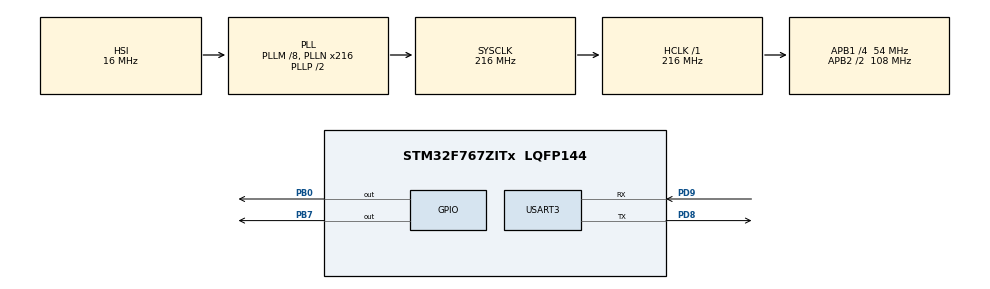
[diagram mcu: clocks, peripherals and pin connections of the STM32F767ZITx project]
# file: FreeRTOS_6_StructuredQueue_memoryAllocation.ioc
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FREERTOS.INCLUDE_vTaskDelayUntil=1
FREERTOS.Tasks01=normalTask,0,128,start_normalTask,Default,NULL,Dynamic,NULL,NULL
FREERTOS.configUSE_COUNTING_SEMAPHORES=0
FREERTOS.configUSE_NEWLIB_REENTRANT=1
Mcu.Family=STM32F7
Mcu.Name=STM32F767ZITx
Mcu.Package=LQFP144
NVIC.PriorityGroup=NVIC_PRIORITYGROUP_4
NVIC.TIM6_DAC_IRQn=true\:15\:0\:false\:false\:true\:false\:false\:true\:true
NVIC.TimeBase=TIM6_DAC_IRQn
NVIC.TimeBaseIP=TIM6
NVIC.USART3_IRQn=true\:5\:0\:false\:false\:true\:true\:true\:true\:true
PA13.Mode=Serial_Wire
PA13.Signal=SYS_JTMS-SWDIO
PA14.Mode=Serial_Wire
PA14.Signal=SYS_JTCK-SWCLK
PB0.Signal=GPIO_Output
PB7.Signal=GPIO_Output
PD8.Mode=Asynchronous
PD8.Signal=USART3_TX
PD9.Mode=Asynchronous
PD9.Signal=USART3_RX
ProjectManager.HeapSize=0x200
ProjectManager.StackSize=0x400
ProjectManager.TargetToolchain=CMake
RCC.AHBFreq_Value=216000000
RCC.APB1CLKDivider=RCC_HCLK_DIV4
RCC.APB1Freq_Value=54000000
RCC.APB1TimFreq_Value=108000000
RCC.APB2CLKDivider=RCC_HCLK_DIV2
RCC.APB2Freq_Value=108000000
RCC.APB2TimFreq_Value=216000000
RCC.CortexFreq_Value=216000000
RCC.HCLKFreq_Value=216000000
RCC.HSE_VALUE=8000000
RCC.HSI_VALUE=16000000
RCC.LSE_VALUE=32768
RCC.PLLM=8
RCC.PLLN=216
RCC.SYSCLKFreq_VALUE=216000000
RCC.SYSCLKSource=RCC_SYSCLKSOURCE_PLLCLK
RCC.USBFreq_Value=216000000
RCC.VCOOutputFreq_Value=432000000
USART3.VirtualMode-Asynchronous=VM_ASYNC
VP_FREERTOS_VS_CMSIS_V1.Mode=CMSIS_V1
VP_SYS_VS_tim6.Mode=TIM6
board=custom

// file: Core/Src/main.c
/* USER CODE BEGIN Header */
/**
  ******************************************************************************
  * @file           : main.c
  * @brief          : Main program body
  ******************************************************************************
  * @author			: Jabed-Akhtar (GitHub)
  * @date			: 11.10.2022
  ******************************************************************************
  * Description:
  * 	- a source within this script: https://youtube.com/playlist?list=PLfIJKC1ud8gj1t2y36sabPT4YcKzmN_5D
  * 	- Related doc/file can be found at location '<project-dir>/zz_docs/...'
  * 	- Benefit of Structured-Queue: Datas of different type can be send and received to/from Queue
  *
  * @attention
  * Very imp note:
  * 	- comment out #include "cmsis_os.h" , as it is not used
  * 	- comment or remote by-default created task related stuffs
  *
  ******************************************************************************
  */
/* USER CODE END Header */
#include "main.h"
//#include "cmsis_os.h"

/* USER CODE BEGIN Includes */

#include "FreeRTOS.h"
#include "task.h"
#include "timers.h"
#include "queue.h"
#include "semphr.h"
#include "event_groups.h"

#include <stdio.h>
#include "stdlib.h"
#include <string.h>

/* USER CODE END Includes */

UART_HandleTypeDef huart3;

//osThreadId normalTaskHandle;
/* USER CODE BEGIN PV */

// defining Task Handlers **********
xTaskHandle Sender1_Task_Handler;
xTaskHandle Sender2_Task_Handler;
xTaskHandle Receiver_Task_Handler;

// defining Queue Handlers **********
xQueueHandle st_queue_handler;

// Structure Handler **********
typedef struct{
	char *str;
	int cou;
	uint16_t large_val;
}my_struct;

int indx1 = 0;
int indx2 = 0;

/* USER CODE END PV */

void SystemClock_Config(void);
static void MX_GPIO_Init(void);
static void MX_USART3_UART_Init(void);
//void start_normalTask(void const * argument);

/* USER CODE BEGIN PFP */

void Sender1_Task(void *argument); // Sender-1 task Handler function
void Sender2_Task(void *argument); // Sender-2 task Handler function
void Receiver_Task(void *argument); // Receiver task Handler function

/* USER CODE END PFP */

int main(void)
{

  /* MCU Configuration--------------------------------------------------------*/

  /* Reset of all peripherals, Initializes the Flash interface and the Systick. */
  HAL_Init();

  /* Configure the system clock */
  SystemClock_Config();

  /* Initialize all configured peripherals */
  MX_GPIO_Init();
  MX_USART3_UART_Init();
  /* USER CODE BEGIN 2 */

  // sending data through USART at the beginning of Programm
  char stri[] = "\n---------- Programm started!!! ----------\n\n\r";
  HAL_UART_Transmit(&huart3, (uint8_t*)stri, strlen(stri), HAL_MAX_DELAY); //HAL_MAX_DELAY -> 0xFFFFFFFFU

  // creating Queue **********
  st_queue_handler = xQueueCreate(2, sizeof(my_struct));
  if (st_queue_handler == 0) // if Queue not created due to any error
  {
	  char *str1 = "Unable to create Structured-Queue.\n\r";
	  HAL_UART_Transmit(&huart3, (uint8_t*)str1, strlen(str1), HAL_MAX_DELAY);
  }
  else
  {
	  char *str1 = "Structured-Queue successfully created.\n\r";
	  HAL_UART_Transmit(&huart3, (uint8_t*)str1, strlen(str1), HAL_MAX_DELAY);
  }

  // create Tasks **********
  xTaskCreate(Sender1_Task, "Sender1", 128, NULL, 2, &Sender1_Task_Handler);
  xTaskCreate(Sender2_Task, "Sender2", 128, NULL, 2, &Sender2_Task_Handler);
  xTaskCreate(Receiver_Task, "Receiver", 128, NULL, 1, &Receiver_Task_Handler); // Task for receiving data from Queue

  // start the Schedular
  vTaskStartScheduler();

  /* USER CODE END 2 */

  /* Create the thread(s) */
  /* definition and creation of normalTask */
//  osThreadDef(normalTask, start_normalTask, osPriorityNormal, 0, 128);
//  normalTaskHandle = osThreadCreate(osThread(normalTask), NULL);

  /* Start scheduler */
//  osKernelStart();

  /* We should never get here as control is now taken by the scheduler */

  /* Infinite loop */
  while (1)
  {

  }
}

void SystemClock_Config(void)
{
  RCC_OscInitTypeDef RCC_OscInitStruct = {0};
  RCC_ClkInitTypeDef RCC_ClkInitStruct = {0};

  /** Configure the main internal regulator output voltage
  */
  __HAL_RCC_PWR_CLK_ENABLE();
  __HAL_PWR_VOLTAGESCALING_CONFIG(PWR_REGULATOR_VOLTAGE_SCALE1);

  /** Initializes the RCC Oscillators according to the specified parameters
  * in the RCC_OscInitTypeDef structure.
  */
  RCC_OscInitStruct.OscillatorType = RCC_OSCILLATORTYPE_HSI;
  RCC_OscInitStruct.HSIState = RCC_HSI_ON;
  RCC_OscInitStruct.HSICalibrationValue = RCC_HSICALIBRATION_DEFAULT;
  RCC_OscInitStruct.PLL.PLLState = RCC_PLL_ON;
  RCC_OscInitStruct.PLL.PLLSource = RCC_PLLSOURCE_HSI;
  RCC_OscInitStruct.PLL.PLLM = 8;
  RCC_OscInitStruct.PLL.PLLN = 216;
  RCC_OscInitStruct.PLL.PLLP = RCC_PLLP_DIV2;
  RCC_OscInitStruct.PLL.PLLQ = 2;
  RCC_OscInitStruct.PLL.PLLR = 2;
  if (HAL_RCC_OscConfig(&RCC_OscInitStruct) != HAL_OK)
  {
    Error_Handler();
  }

  /** Activate the Over-Drive mode
  */
  if (HAL_PWREx_EnableOverDrive() != HAL_OK)
  {
    Error_Handler();
  }

  /** Initializes the CPU, AHB and APB buses clocks
  */
  RCC_ClkInitStruct.ClockType = RCC_CLOCKTYPE_HCLK|RCC_CLOCKTYPE_SYSCLK
                              |RCC_CLOCKTYPE_PCLK1|RCC_CLOCKTYPE_PCLK2;
  RCC_ClkInitStruct.SYSCLKSource = RCC_SYSCLKSOURCE_PLLCLK;
  RCC_ClkInitStruct.AHBCLKDivider = RCC_SYSCLK_DIV1;
  RCC_ClkInitStruct.APB1CLKDivider = RCC_HCLK_DIV4;
  RCC_ClkInitStruct.APB2CLKDivider = RCC_HCLK_DIV2;

  if (HAL_RCC_ClockConfig(&RCC_ClkInitStruct, FLASH_LATENCY_7) != HAL_OK)
  {
    Error_Handler();
  }
}

static void MX_USART3_UART_Init(void)
{

  huart3.Instance = USART3;
  huart3.Init.BaudRate = 115200;
  huart3.Init.WordLength = UART_WORDLENGTH_8B;
  huart3.Init.StopBits = UART_STOPBITS_1;
  huart3.Init.Parity = UART_PARITY_NONE;
  huart3.Init.Mode = UART_MODE_TX_RX;
  huart3.Init.HwFlowCtl = UART_HWCONTROL_NONE;
  huart3.Init.OverSampling = UART_OVERSAMPLING_16;
  huart3.Init.OneBitSampling = UART_ONE_BIT_SAMPLE_DISABLE;
  huart3.AdvancedInit.AdvFeatureInit = UART_ADVFEATURE_NO_INIT;
  if (HAL_UART_Init(&huart3) != HAL_OK)
  {
    Error_Handler();
  }

}

static void MX_GPIO_Init(void)
{
  GPIO_InitTypeDef GPIO_InitStruct = {0};

  /* GPIO Ports Clock Enable */
  __HAL_RCC_GPIOB_CLK_ENABLE();
  __HAL_RCC_GPIOD_CLK_ENABLE();
  __HAL_RCC_GPIOA_CLK_ENABLE();

  /*Configure GPIO pin Output Level */
  HAL_GPIO_WritePin(GPIOB, GPIO_PIN_0|GPIO_PIN_7, GPIO_PIN_RESET);

  /*Configure GPIO pins : PB0 PB7 */
  GPIO_InitStruct.Pin = GPIO_PIN_0|GPIO_PIN_7;
  GPIO_InitStruct.Mode = GPIO_MODE_OUTPUT_PP;
  GPIO_InitStruct.Pull = GPIO_NOPULL;
  GPIO_InitStruct.Speed = GPIO_SPEED_FREQ_LOW;
  HAL_GPIO_Init(GPIOB, &GPIO_InitStruct);

}

/* USER CODE BEGIN 4 */

// Sender-1 task Handler function
/*
 * Task to send data to Structured-Queue
 */
void Sender1_Task(void *argument)
{
	my_struct *ptrtostruct;

	uint32_t tickDelay = pdMS_TO_TICKS(2000);

	while(1)
	{
		char *str = "Entered Sender1_Task.\nAbout to Send to the Queue.\n\n";
		HAL_UART_Transmit(&huart3, (uint8_t *)str, strlen(str), HAL_MAX_DELAY);

		/****** Allocate memory to the PTR *****/
		ptrtostruct = pvPortMalloc(sizeof(my_struct));

		/***** Load the Data *****/
		ptrtostruct->cou = 1+indx1;
		ptrtostruct->large_val = 1000 + indx1*100;
		ptrtostruct->str = "Hello from Sender-1_Queue.";

		/***** Send to the Queue *****/
		if(xQueueSend(st_queue_handler, &ptrtostruct, portMAX_DELAY) == pdPASS)
		{
			char *str2 = "Successfully sent number to the Queue.\n\rLeaving Sender1_Task.\n\n\r";
			HAL_UART_Transmit(&huart3, (uint8_t*)str2, strlen(str2), HAL_MAX_DELAY);

			HAL_GPIO_TogglePin(GPIOB, GPIO_PIN_0); // Blinking LED-0 (Green) on Sending data to Queue
		}

		indx1++;

		vTaskDelay(tickDelay);
	}
}

// Sender-2 task Handler function
/*
 * Task to send data to Structured-Queue
 */
void Sender2_Task(void *argument)
{
	my_struct *ptrtostruct;

	uint32_t tickDelay = pdMS_TO_TICKS(2000);

	while(1)
	{
		char *str = "Entered Sender2_Task.\nAbout to Send to the Queue.\n\n";
		HAL_UART_Transmit(&huart3, (uint8_t *)str, strlen(str), HAL_MAX_DELAY);

		/****** Allocate memory to the PTR *****/
		ptrtostruct = pvPortMalloc(sizeof(my_struct));

		/***** Load the Data *****/
		ptrtostruct->cou = 1+indx2;
		ptrtostruct->large_val = 1000 + indx2*100;
		ptrtostruct->str = "Hi from Sender-2_Queue.";

		/***** Send to the Queue *****/
		if(xQueueSend(st_queue_handler, &ptrtostruct, portMAX_DELAY) == pdPASS)
		{
			char *str2 = "Successfully sent number to the Queue.\n\rLeaving Sender2_Task.\n\n\r";
			HAL_UART_Transmit(&huart3, (uint8_t*)str2, strlen(str2), HAL_MAX_DELAY);

			HAL_GPIO_TogglePin(GPIOB, GPIO_PIN_7); // Blinking LED-1 (Blue) on Sending data to Queue
		}

		indx2++;

		vTaskDelay(tickDelay);
	}
}

// Receiver task Handler function
/*
 * Receiver Task for receiving Data from Queue
 */
void Receiver_Task(void *argument)
{
	my_struct *Rx_ptrtostruct;
	uint32_t tickDelay = pdMS_TO_TICKS(3000);
	char *ptr;

	while(1)
	{
		char *str = "Entered Receiver_Task.\nAbout to Receive from the Queue.\n\n";
		HAL_UART_Transmit(&huart3, (uint8_t *)str, strlen(str), HAL_MAX_DELAY);

		/****** Receive data from Queue *****/
		if (xQueueReceive(st_queue_handler, &Rx_ptrtostruct, portMAX_DELAY) == pdPASS)
		{
			/*
			 * - In order to use sprintf in FreeRTOS, memory should be allocated to pointer like this.
			 * - Allocating memeory for the String
			 */
			ptr = pvPortMalloc(100 * sizeof(char));

			sprintf(ptr, "Received from Queue:\n |- Counter = %d\n |- Large Value = %u\n |- String = %s\n\n", Rx_ptrtostruct->cou, Rx_ptrtostruct->large_val, Rx_ptrtostruct->str);
			HAL_UART_Transmit(&huart3, (uint8_t *)ptr, strlen(ptr), HAL_MAX_DELAY);

			HAL_GPIO_TogglePin(GPIOB, GPIO_PIN_14); // Blinking LED-2 (Red) on Receiving data from Queue

			vPortFree(ptr); // Free the String memory
		}

		vPortFree(Rx_ptrtostruct); // Free the Structure memory

		vTaskDelay(tickDelay);
	}
}

/* USER CODE END 4 */

//void start_normalTask(void const * argument)
//{
//  /* USER CODE BEGIN 5 */
//  /* Infinite loop */
//  for(;;)
//  {
//    osDelay(1);
//  }
//  /* USER CODE END 5 */
//}

void HAL_TIM_PeriodElapsedCallback(TIM_HandleTypeDef *htim)
{
  if (htim->Instance == TIM6) {
    HAL_IncTick();
  }
}

void Error_Handler(void)
{
  __disable_irq();
  while (1)
  {
  }
}
